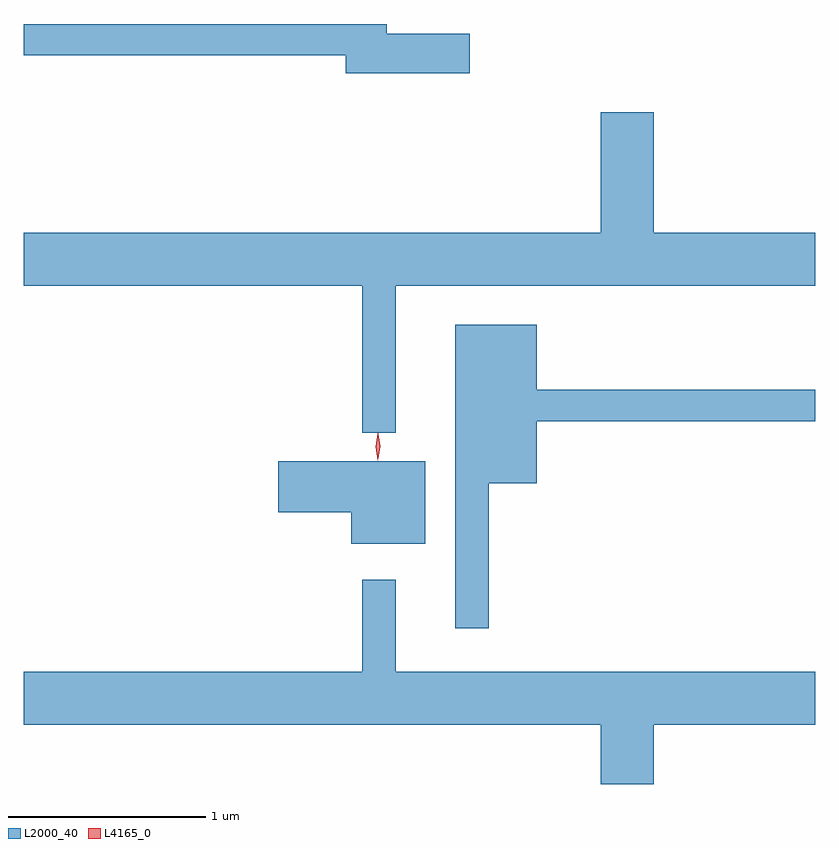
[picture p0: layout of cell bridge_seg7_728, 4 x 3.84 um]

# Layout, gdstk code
import gdstk
lib = gdstk.Library(unit=1e-6, precision=1e-09)
def P(c, l, *ps):  # polygons
    for p in ps: c.add(gdstk.Polygon(p, *l))
L2000_40 = (2000, 40)
L4165_0 = (4165, 0)

bridge_seg7_728 = lib.new_cell('bridge_seg7_728')
P(bridge_seg7_728, L2000_40, [(554.074,1759.989),(553.654,1759.989),(553.654,1760.039),(551.82,1760.039),(551.82,1759.881),(553.446,1759.881),(553.446,1759.791),(554.074,1759.791)],
  [(553.699,1758.716),(555.82,1758.716),(555.82,1758.984),(555.004,1758.984),(555.004,1759.594),(554.736,1759.594),(554.736,1758.984),(551.82,1758.984),(551.82,1758.716),(553.531,1758.716),(553.531,1757.973),(553.699,1757.973)],
  [(554.169,1757.716),(554.414,1757.716),(554.414,1758.031),(555.82,1758.031),(555.82,1758.189),(554.414,1758.189),(554.414,1758.519),(554.001,1758.519),(554.001,1756.983),(554.169,1756.983)],
  [(553.849,1757.829),(553.106,1757.829),(553.106,1757.571),(553.476,1757.571),(553.476,1757.411),(553.849,1757.411)],
  [(555.004,1756.496),(555.82,1756.496),(555.82,1756.764),(553.699,1756.764),(553.699,1757.228),(553.531,1757.228),(553.531,1756.764),(551.82,1756.764),(551.82,1756.496),(554.736,1756.496),(554.736,1756.196),(555.004,1756.196)])
P(bridge_seg7_728, L4165_0, [(553.611,1757.84),(553.61,1757.841),(553.601,1757.904),(553.61,1757.966),(553.611,1757.967),(553.611,1757.966),(553.621,1757.904),(553.611,1757.841)],
  [(553.609,1757.834),(553.609,1757.834),(553.6,1757.902),(553.61,1757.97),(553.611,1757.97),(553.611,1757.97),(553.62,1757.902),(553.61,1757.834)])

lib.write_gds('bridge_seg7_728.gds')
